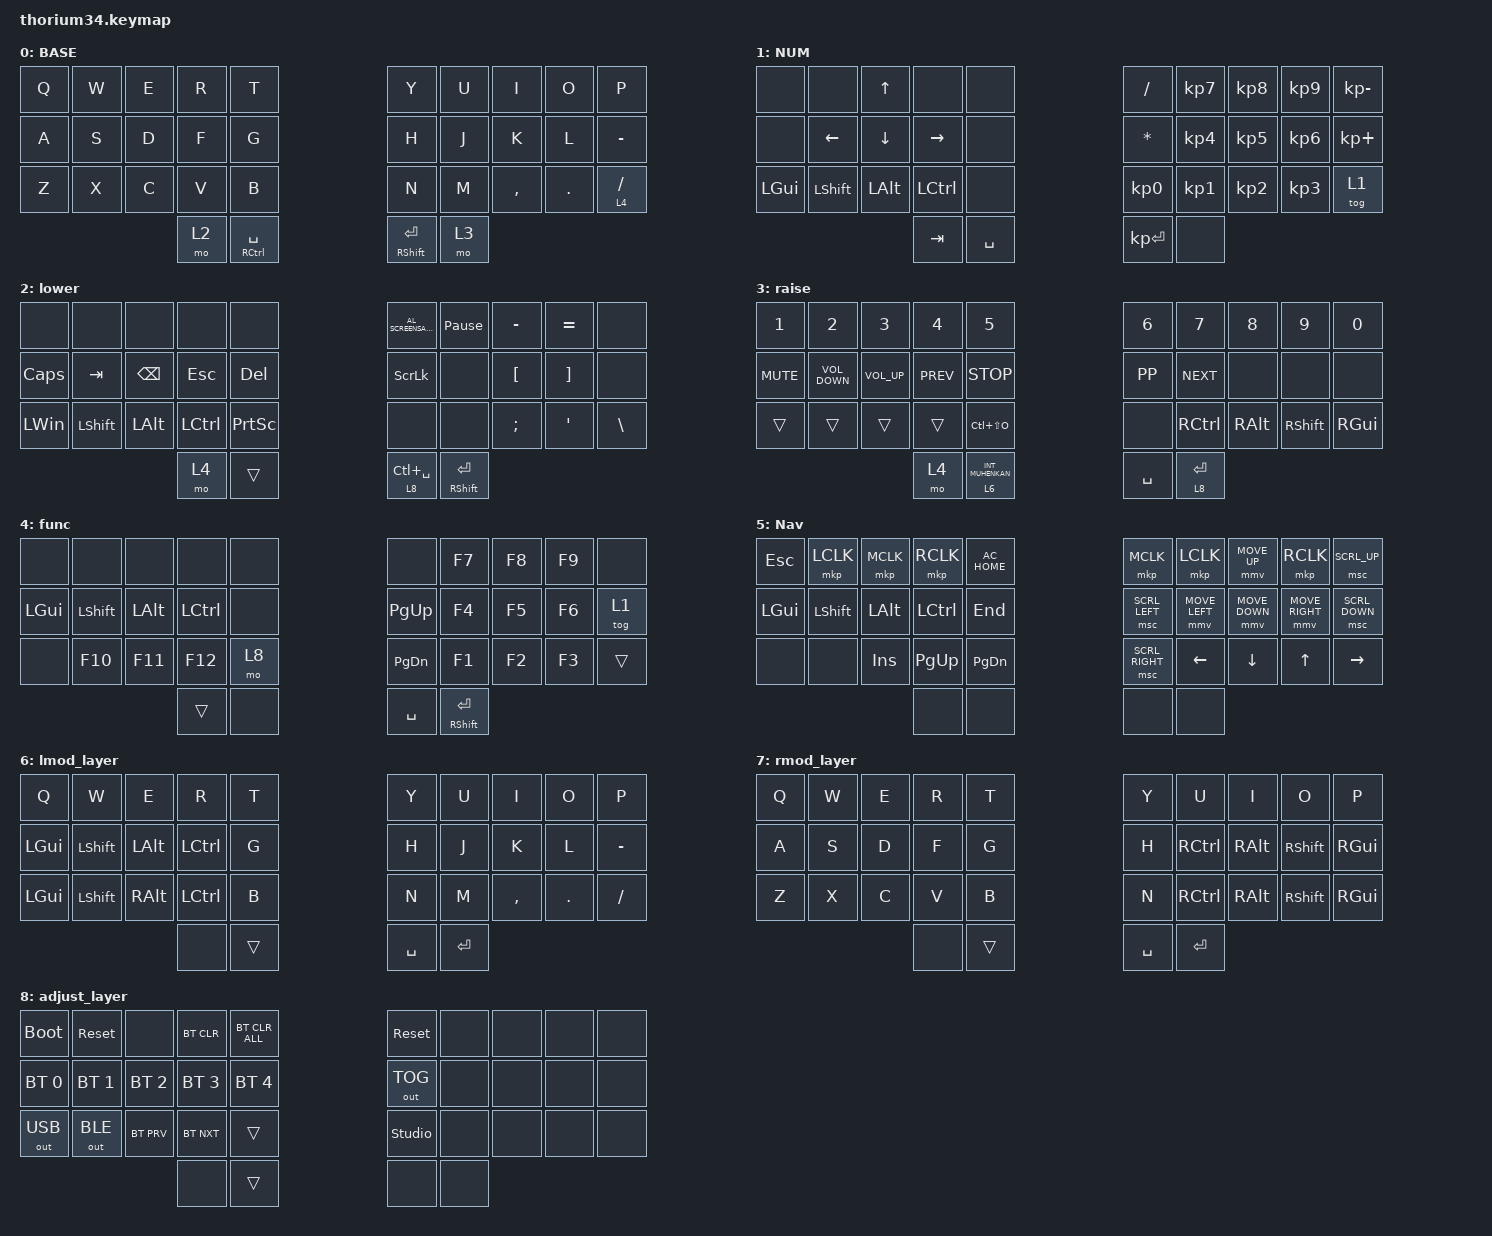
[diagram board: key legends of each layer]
#include <dt-bindings/zmk/mouse.h>
#include <behaviors/rgbled_widget.dtsi>
#include <behaviors.dtsi>
#include <dt-bindings/zmk/bt.h>
#include <dt-bindings/zmk/keys.h>
#include <dt-bindings/zmk/outputs.h>
#include <dt-bindings/zmk/pointing.h>

&mt {
    quick-tap-ms = <175>;
    require-prior-idle-ms = <125>;
    flavor = "tap-preferred";
    tapping-term-ms = <300>;
};

/ {
    behaviors {
        simple_sticky_alt: sticky_key {
            compatible = "zmk,behavior-sticky-key";
            #binding-cells = <0>;
            bindings = <&kp LALT>;
            release-after-ms = <1000>;
        };
    };
    combos {
        compatible = "zmk,combos";

        combo_esc {
            timeout-ms = <50>;
            key-positions = <0 1>;
            bindings = <&kp ESC>;
        };

        back {
            bindings = <&kp BACKSPACE>;
            key-positions = <8 9>;
            timeout-ms = <50>;
        };

        ZenHan {
            bindings = <&kp LA(SPACE)>;
            key-positions = <12 13>;
            timeout-ms = <50>;
        };

        Num-Dot-Combo {
            bindings = <&kp DOT>;
            key-positions = <27 28>;
            timeout-ms = <20>;
            layers = <1>;
        };

        ndq {
            bindings = <&ndq_id_macro>;
            key-positions = <1 2>;
            layers = <2>;
        };

        pc {
            bindings = <&PC_macro>;
            key-positions = <2 3>;
            layers = <2>;
        };

        kakko_start {
            bindings = <&kp LEFT_PARENTHESIS>;
            key-positions = <7 6>;
            layers = <1>;
        };

        kakko_end {
            bindings = <&kp RIGHT_PARENTHESIS>;
            key-positions = <7 8>;
            layers = <1>;
        };

        zaq {
            bindings = <&zaq_macro>;
            key-positions = <4 3>;
            layers = <2>;
        };

        sysop {
            bindings = <&sysop_macro>;
            key-positions = <1 3>;
        };
    };

    macros {
        zaq_macro: zaq_macro {
            compatible = "zmk,behavior-macro";
            #binding-cells = <0>;
            bindings = <&kp Z &kp A &kp Q &kp N1 &kp DQT &kp LS(W) &kp LS(S) &kp LS(X)>;
            label = "ZAQ_MACRO";
        };

        ndq_id_macro: nsq_id_macro {
            compatible = "zmk,behavior-macro";
            #binding-cells = <0>;
            bindings = <&kp N4 &kp N4 &kp N5 &kp N6 &kp N3 &kp N6 &kp N0>;
            label = "NSQ_ID_MACRO";
        };

        PC_macro: PC_macro {
            compatible = "zmk,behavior-macro";
            #binding-cells = <0>;
            bindings = <&kp A &kp S &kp D &kp F &kp SEMI &kp L &kp K &kp J>;
            label = "PC_MACRO";
        };

        sysop_macro: sysop_macro {
            compatible = "zmk,behavior-macro";
            #binding-cells = <0>;
            bindings = <&kp S &kp Y &kp S &kp O &kp P &kp N0 &kp N0 &kp N0>;
            label = "SYSOP_MACRO";
        };
    };

    keymap {
        compatible = "zmk,keymap";

        base_layer {
            display-name = "BASE";
            bindings = <
                &kp Q       &kp W       &kp E       &kp R       &kp T       &kp Y       &kp U       &kp I       &kp O       &kp P
                &kp A       &kp S       &kp D       &kp F       &kp G       &kp H       &kp J       &kp K       &kp L       &kp MINUS
                &kp Z       &kp X       &kp C       &kp V       &kp B       &kp N       &kp M       &kp COMMA   &kp DOT     &lt 4 SLASH
                                                    &mo 2       &mt RCTRL SPACE &mt RIGHT_SHIFT ENTER &mo 3
            >;
        };

        num_layer {
            display-name = "NUM";
            bindings = <
                &none       &none       &kp UP_ARROW &none       &none       &kp SLASH   &kp KP_N7  &kp KP_N8  &kp KP_N9  &kp KP_MINUS
                &none       &kp LEFT_ARROW &kp DOWN_ARROW &kp RIGHT_ARROW &none       &kp ASTERISK &kp KP_N4 &kp KP_N5 &kp KP_N6 &kp KP_PLUS
                &kp LEFT_GUI &kp LEFT_SHIFT &kp LEFT_ALT &kp LCTRL &none       &kp KP_N0  &kp KP_N1  &kp KP_N2  &kp KP_N3  &tog 1
                                                    &kp TAB     &kp SPACE    &kp KP_ENTER &none
            >;
        };

        lower_layer {
            display-name = "lower";
            bindings = <
                &none       &none       &none       &none       &none       &kp C_AL_SCREENSAVER &kp PAUSE_BREAK &kp MINUS &kp EQUAL &none
                &kp CAPSLOCK &kp TAB    &kp BACKSPACE &kp ESCAPE &kp DELETE &kp SCROLLLOCK &none &kp LEFT_BRACKET &kp RIGHT_BRACKET &none
                &kp LWIN    &kp LSHFT   &kp LEFT_ALT &kp LCTRL  &kp PRINTSCREEN &none &none &kp SEMICOLON &kp SQT &kp BACKSLASH
                                                    &mo 4       &trans      &lt 8 LC(SPACE) &mt RIGHT_SHIFT ENTER
            >;
        };

        raise_layer {
            display-name = "raise";
            bindings = <
                &kp NUMBER_1 &kp NUMBER_2 &kp NUMBER_3 &kp NUMBER_4 &kp NUMBER_5 &kp NUMBER_6 &kp NUMBER_7 &kp NUMBER_8 &kp NUMBER_9 &kp NUMBER_0
                &kp K_MUTE  &kp C_VOLUME_DOWN &kp C_VOL_UP &kp K_PREV &kp K_STOP &kp K_PP &kp K_NEXT &none &none &none
                &trans      &trans      &trans      &trans      &kp LC(LS(O)) &none &kp RCTRL &kp RALT &kp RSHFT &kp RIGHT_GUI
                                                    &mo 4       &lt 6 INT_MUHENKAN &kp SPACE &lt 8 ENTER
            >;
        };

        func_layer {
            display-name = "func";
            bindings = <
                &none       &none       &none       &none       &none       &none       &kp F7      &kp F8      &kp F9      &none
                &kp LEFT_GUI &kp LEFT_SHIFT &kp LEFT_ALT &kp LCTRL &none &kp PAGE_UP &kp F4 &kp F5 &kp F6 &tog 1
                &none       &kp F10      &kp F11      &kp F12      &mo 8       &kp PAGE_DOWN &kp F1 &kp F2 &kp F3 &trans
                                                    &trans      &none       &kp SPACE   &mt RIGHT_SHIFT ENTER
            >;
        };

        nav_layer {
            display-name = "Nav";
            bindings = <
                &kp ESCAPE  &mkp LCLK   &mkp MCLK   &mkp RCLK   &kp C_AC_HOME &mkp MCLK &mkp LCLK &mmv MOVE_UP &mkp RCLK &msc SCRL_UP
                &kp LEFT_GUI &kp LEFT_SHIFT &kp LEFT_ALT &kp LCTRL &kp END &msc SCRL_LEFT &mmv MOVE_LEFT &mmv MOVE_DOWN &mmv MOVE_RIGHT &msc SCRL_DOWN
                &none       &none       &kp INSERT  &kp PG_UP   &kp PAGE_DOWN &msc SCRL_RIGHT &kp LEFT &kp DOWN &kp UP &kp RIGHT
                                                    &none       &none       &none       &none
            >;
        };

        lmod_layer {
            bindings = <
                &kp Q       &kp W       &kp E       &kp R       &kp T       &kp Y       &kp U       &kp I       &kp O       &kp P
                &kp LEFT_GUI &kp LEFT_SHIFT &kp LALT &kp LCTRL &kp G &kp H &kp J &kp K &kp L &kp MINUS
                &kp LEFT_GUI &kp LEFT_SHIFT &kp RIGHT_ALT &kp LCTRL &kp B &kp N &kp M &kp COMMA &kp PERIOD &kp SLASH
                                                    &none       &trans      &kp SPACE   &kp RET
            >;
        };

        rmod_layer {
            bindings = <
                &kp Q       &kp W       &kp E       &kp R       &kp T       &kp Y       &kp U       &kp I       &kp O       &kp P
                &kp A       &kp S       &kp D       &kp F       &kp G       &kp H       &kp RCTRL  &kp RIGHT_ALT &kp RSHFT &kp RIGHT_GUI
                &kp Z       &kp X       &kp C       &kp V       &kp B       &kp N       &kp RCTRL  &kp RIGHT_ALT &kp RSHFT &kp RIGHT_GUI
                                                    &none       &trans      &kp SPACE   &kp RET
            >;
        };

        adjust_layer {
            bindings = <
                &bootloader &sys_reset  &none       &bt BT_CLR &bt BT_CLR_ALL &sys_reset &none &none &none &none
                &bt BT_SEL 0 &bt BT_SEL 1 &bt BT_SEL 2 &bt BT_SEL 3 &bt BT_SEL 4 &out OUT_TOG &none &none &none &none
                &out OUT_USB &out OUT_BLE &bt BT_PRV &bt BT_NXT &trans &studio_unlock &none &none &none &none
                                                    &none       &trans      &none       &none
            >;
        };
    };
};
